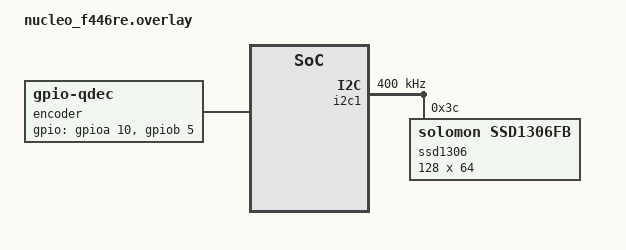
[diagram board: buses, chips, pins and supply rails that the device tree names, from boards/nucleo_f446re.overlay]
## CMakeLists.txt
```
cmake_minimum_required(VERSION 3.20.0)

find_package(Zephyr REQUIRED HINTS $ENV{ZEPHYR_BASE})
project(work)

set(CMAKE_EXPORT_COMPILE_COMMANDS ON)

target_sources(app PRIVATE
  src/main.c
  src/displaying.c
  src/encoder.c
  src/menu.c
)
```

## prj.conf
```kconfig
CONFIG_GPIO=y
CONFIG_ADC=y
CONFIG_DAC=y
CONFIG_SENSOR=y
CONFIG_INPUT=y
CONFIG_I2C=y
CONFIG_DISPLAY=y
CONFIG_CHARACTER_FRAMEBUFFER=y

CONFIG_FPU=y

CONFIG_MAIN_STACK_SIZE=1536
CONFIG_HEAP_MEM_POOL_SIZE=4096

CONFIG_LOG=y
CONFIG_PRINTK=y
CONFIG_INPUT=y
CONFIG_INPUT_GPIO_QDEC=y
```

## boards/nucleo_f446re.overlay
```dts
#include <zephyr/dt-bindings/input/input-event-codes.h>

/ {
    chosen {
        zephyr,display = &ssd1306;
    };

    encoder: encoder {
        compatible = "gpio-qdec";
        gpios = <&gpioa 10 GPIO_PULL_UP>, <&gpiob 5 GPIO_PULL_UP>;
        steps-per-period = <4>;
        zephyr,axis = <INPUT_REL_X>;
        sample-time-us = <2000>;
        idle-timeout-ms = <200>;
    };
};

&i2c1 {
    status = "okay";
    clock-frequency = <I2C_BITRATE_FAST>;

    ssd1306: ssd1306@3c {
        compatible = "solomon,ssd1306fb";
        reg = <0x3c>;
        width = <128>;
        height = <64>;
        segment-offset = <0>;
        page-offset = <0>;
        display-offset = <0>;
        multiplex-ratio = <63>;
        segment-remap;
        com-invdir;
        prechargep = <0x22>;
    };
};
```

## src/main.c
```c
#include <zephyr/kernel.h>

#include "displaying.h"
#include "encoder.h"
#include "menu.h"

int main(void) {
  if (display_init()) {
    return 0;
  }

  menu_init();

  while (1) {
    menu_update(encoder_get());
    k_msleep(20);
  }
}
```

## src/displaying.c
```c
#include <zephyr/device.h>
#include <zephyr/devicetree.h>
#include <zephyr/display/cfb.h>
#include <zephyr/drivers/display.h>
#include <zephyr/kernel.h>
#include <zephyr/sys/printk.h>

#include "displaying.h"

static const struct device *display_dev =
    DEVICE_DT_GET(DT_CHOSEN(zephyr_display));

static uint8_t font_w, font_h;
static int rows;

int display_init(void) {
  if (!device_is_ready(display_dev)) {
    printk("Display not ready\n");
    return -1;
  }

  display_blanking_off(display_dev);

  if (cfb_framebuffer_init(display_dev)) {
    printk("Framebuffer init failed\n");
    return -1;
  }

  cfb_framebuffer_set_font(display_dev, 0);
  cfb_get_font_size(display_dev, 0, &font_w, &font_h);
  rows = cfb_get_display_parameter(display_dev, CFB_DISPLAY_HEIGH) / font_h;

  return 0;
}

int display_rows(void) { return rows; }

void display_clear(void) { cfb_framebuffer_clear(display_dev, false); }

void display_line(int row, const char *text) {
  cfb_print(display_dev, text, 0, row * font_h);
}

void display_flush(void) { cfb_framebuffer_finalize(display_dev); }
```

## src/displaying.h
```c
#ifndef DISPLAYING_H
#define DISPLAYING_H

int display_init(void);
int display_rows(void);
void display_clear(void);
void display_line(int row, const char *text);
void display_flush(void);

#endif
```

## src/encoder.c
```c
#include <stdbool.h>
#include <zephyr/device.h>
#include <zephyr/devicetree.h>
#include <zephyr/input/input.h>
#include <zephyr/kernel.h>

#include "encoder.h"

static volatile int value;
K_SEM_DEFINE(press_sem, 0, 1);   /* starts at 0, holds at most 1 press */

static void rotation_cb(struct input_event *evt, void *user_data) {
  value += evt->value;
}

static void button_cb(struct input_event *evt, void *user_data) {
  if (evt->value) {   /* 1 = pressed, 0 = released */
    k_sem_give(&press_sem);
  }
}

INPUT_CALLBACK_DEFINE(DEVICE_DT_GET(DT_NODELABEL(encoder)), rotation_cb, NULL);
INPUT_CALLBACK_DEFINE(DEVICE_DT_GET(DT_NODELABEL(buttons)), button_cb, NULL);

int encoder_get(void) { return value; }

bool encoder_button_pressed(void) {
  return k_sem_take(&press_sem, K_NO_WAIT) == 0;
}
```

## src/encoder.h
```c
#ifndef ENCODER_H
#define ENCODER_H

int encoder_get(void);

#endif
```

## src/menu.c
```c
#include <stdio.h>

#include "displaying.h"
#include "menu.h"

#define MENU_ITEMS 5

static const char *items[MENU_ITEMS] = {
    "Sample1", "Sample2", "Sample3", "Sample4", "Sample5",
};

static int selected = -1;
static int top;

static int to_index(int count) {
  int i = count % MENU_ITEMS;
  return i < 0 ? i + MENU_ITEMS : i;
}

static void draw(void) {
  char buf[20];
  int visible = display_rows();

  if (visible > MENU_ITEMS) {
    visible = MENU_ITEMS;
  }

  /* scroll the window so the selected item is always visible */
  if (selected < top) {
    top = selected;
  } else if (selected >= top + visible) {
    top = selected - visible + 1;
  }

  display_clear();

  for (int row = 0; row < visible; row++) {
    int idx = top + row;
    snprintf(buf, sizeof(buf), "%c %s", idx == selected ? '>' : ' ',
             items[idx]);
    display_line(row, buf);
  }

  display_flush();
}

void menu_init(void) {
  selected = 0;
  top = 0;
  draw();
}

void menu_update(int count) {
  int idx = to_index(count);

  if (idx != selected) {
    selected = idx;
    draw();
  }
}
```

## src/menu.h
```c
#ifndef MENU_H
#define MENU_H

void menu_init(void);
void menu_update(int count);

#endif
```

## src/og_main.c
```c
/*
 * Zephyr real-time audio effects processor
 * Target: Nucleo-F446RE (STM32F446RE)
 *
 * Signal path (Path A: internal ADC/DAC, mono, no external codec):
 *   Audio in (PA0 / ADC1_IN0) -> delay/echo DSP -> Audio out (PA4 / DAC_OUT1)
 *
 * Threads:
 *   audio_thread   - cooperative priority, sample-rate loop, runs the DSP
 *   control_thread - preemptible, reads pots + encoder, updates fx params
 *   display_thread - lowest priority, refreshes the OLED status screen
 *
 * NOTE - this is a teaching-grade prototype, not a production audio
 * pipeline. The sample clock here is a k_timer, which is fine for an
 * 8 kHz mono delay effect but will jitter under system load. A
 * production version would trigger the ADC from a hardware timer and
 * move samples in/out with DMA instead of blocking adc_read_dt() calls
 * inside the loop - that upgrade path is good material to talk through
 * in an interview.
 */

#include <zephyr/kernel.h>
#include <zephyr/device.h>
#include <zephyr/devicetree.h>
#include <zephyr/drivers/adc.h>
#include <zephyr/drivers/dac.h>
#include <zephyr/drivers/sensor.h>
#include <zephyr/input/input.h>
#include <zephyr/display/cfb.h>
#include <zephyr/sys/printk.h>
#include <zephyr/sys/atomic.h>
#include <stdio.h>
#include <string.h>

/* ---------- configuration ---------- */
#define SAMPLE_RATE_HZ    8000
#define SAMPLE_PERIOD_US  (1000000 / SAMPLE_RATE_HZ)

#define DELAY_MAX_MS      1000
#define DELAY_BUF_LEN     (SAMPLE_RATE_HZ * DELAY_MAX_MS / 1000)

#define DAC_RESOLUTION    12
#define DAC_MAX_VALUE     ((1 << DAC_RESOLUTION) - 1)

#define BYPASS_KEY_CODE   1
#define PRESET_KEY_CODE   2
#define ENCODER_SW_CODE   3

/* ---------- devicetree handles ---------- */
static const struct adc_dt_spec adc_channels[] = {
	ADC_DT_SPEC_GET_BY_IDX(DT_PATH(zephyr_user), 0), /* audio in */
	ADC_DT_SPEC_GET_BY_IDX(DT_PATH(zephyr_user), 1), /* pot 1 (delay time) */
	ADC_DT_SPEC_GET_BY_IDX(DT_PATH(zephyr_user), 2), /* pot 2 (feedback) */
};

static const struct device *dac_dev = DEVICE_DT_GET(DT_NODELABEL(dac1));

static const struct dac_channel_cfg dac_cfg = {
	.channel_id = 1,
	.resolution = DAC_RESOLUTION,
	.buffered   = true,
};

static const struct device *qdec_dev = DEVICE_DT_GET(DT_NODELABEL(qdec));

/* ---------- shared effect state (audio thread writes/reads at 8 kHz,
 * control thread updates every 50 ms - atomics avoid a lock on the
 * audio thread's hot path) ---------- */
static struct {
	atomic_t delay_samples; /* 1 .. DELAY_BUF_LEN            */
	atomic_t feedback_pct;  /* 0 .. 90                        */
	atomic_t mix_pct;       /* 0 .. 100 (0 = dry, 100 = wet)   */
	atomic_t bypass;        /* 0 or 1                          */
} fx = {
	.delay_samples = ATOMIC_INIT(SAMPLE_RATE_HZ / 4), /* 250 ms default */
	.feedback_pct  = ATOMIC_INIT(35),
	.mix_pct       = ATOMIC_INIT(50),
	.bypass        = ATOMIC_INIT(0),
};

/* qdec reports an absolute, ever-accumulating position, so "reset to
 * 50%" is implemented as a subtractable offset rather than overwriting
 * fx.mix_pct directly - otherwise the next control-loop read of the
 * raw encoder position would immediately stomp the reset. */
static atomic_t encoder_offset = ATOMIC_INIT(0);
static atomic_t reset_mix_flag = ATOMIC_INIT(0);

/* ---------- audio thread ---------- */
static int16_t delay_buf[DELAY_BUF_LEN];
static size_t write_idx;

K_THREAD_STACK_DEFINE(audio_stack, 1024);
static struct k_thread audio_tid;

static int16_t adc_read_raw(const struct adc_dt_spec *spec)
{
	int16_t raw = 0;
	struct adc_sequence seq = {
		.buffer      = &raw,
		.buffer_size = sizeof(raw),
	};

	(void)adc_sequence_init_dt(spec, &seq);
	(void)adc_read_dt(spec, &seq);
	return raw;
}

static void audio_thread_fn(void *a, void *b, void *c)
{
	ARG_UNUSED(a);
	ARG_UNUSED(b);
	ARG_UNUSED(c);

	struct k_timer sample_timer;

	k_timer_init(&sample_timer, NULL, NULL);
	k_timer_start(&sample_timer, K_USEC(SAMPLE_PERIOD_US), K_USEC(SAMPLE_PERIOD_US));

	while (1) {
		k_timer_status_sync(&sample_timer);

		int16_t dry = adc_read_raw(&adc_channels[0]);

		if (atomic_get(&fx.bypass)) {
			dac_write_value(dac_dev, dac_cfg.channel_id, dry);
			continue;
		}

		int delay_n  = atomic_get(&fx.delay_samples);
		int feedback = atomic_get(&fx.feedback_pct);
		int mix      = atomic_get(&fx.mix_pct);

		size_t read_idx = (write_idx + DELAY_BUF_LEN - delay_n) % DELAY_BUF_LEN;
		int16_t delayed = delay_buf[read_idx];

		/* write dry signal + feedback of the delayed tap into the ring buffer */
		int32_t fed_back = dry + (delayed * feedback) / 100;

		if (fed_back > 2047) {
			fed_back = 2047;
		}
		if (fed_back < -2048) {
			fed_back = -2048;
		}
		delay_buf[write_idx] = (int16_t)fed_back;
		write_idx = (write_idx + 1) % DELAY_BUF_LEN;

		/* wet/dry mix, DAC expects unsigned 12-bit centered at 2048 */
		int32_t wet = (dry * (100 - mix) + delayed * mix) / 100;
		int32_t out = wet + 2048;

		if (out < 0) {
			out = 0;
		}
		if (out > DAC_MAX_VALUE) {
			out = DAC_MAX_VALUE;
		}

		dac_write_value(dac_dev, dac_cfg.channel_id, (uint32_t)out);
	}
}

/* ---------- control thread: pots, encoder, switches ---------- */
K_THREAD_STACK_DEFINE(control_stack, 1024);
static struct k_thread control_tid;

static void input_cb(struct input_event *evt, void *user_data)
{
	ARG_UNUSED(user_data);

	if (evt->type != INPUT_EV_KEY || !evt->value) {
		return; /* only react to key-down, ignore key-up */
	}

	if (evt->code == BYPASS_KEY_CODE) {
		atomic_set(&fx.bypass, !atomic_get(&fx.bypass));
	} else if (evt->code == PRESET_KEY_CODE) {
		/* snap back to the default delay sound */
		atomic_set(&fx.delay_samples, SAMPLE_RATE_HZ / 4);
		atomic_set(&fx.feedback_pct, 35);
		atomic_set(&fx.mix_pct, 50);
	} else if (evt->code == ENCODER_SW_CODE) {
		/* defer the actual offset math to the control thread, which
		* has the current raw encoder reading close at hand */
		atomic_set(&reset_mix_flag, 1);
	}
}
INPUT_CALLBACK_DEFINE(NULL, input_cb, NULL);

static void control_thread_fn(void *a, void *b, void *c)
{
	ARG_UNUSED(a);
	ARG_UNUSED(b);
	ARG_UNUSED(c);

	while (1) {
		/* pot 1 -> delay time, 10..1000 ms */
		int16_t pot1 = adc_read_raw(&adc_channels[1]);
		int delay_ms = 10 + (pot1 * (DELAY_MAX_MS - 10)) / 4095;

		atomic_set(&fx.delay_samples, delay_ms * SAMPLE_RATE_HZ / 1000);

		/* pot 2 -> feedback, 0..90 % */
		int16_t pot2 = adc_read_raw(&adc_channels[2]);

		atomic_set(&fx.feedback_pct, (pot2 * 90) / 4095);

		/* encoder -> wet/dry mix, 0..100 % */
		struct sensor_value rot;

		if (device_is_ready(qdec_dev) &&
		   sensor_sample_fetch(qdec_dev) == 0 &&
		   sensor_channel_get(qdec_dev, SENSOR_CHAN_ROTATION, &rot) == 0) {
			int raw = rot.val1;

			if (atomic_get(&reset_mix_flag)) {
				atomic_set(&encoder_offset, raw - 50);
				atomic_set(&reset_mix_flag, 0);
			}

			int mix = (raw - atomic_get(&encoder_offset)) % 101;

			if (mix < 0) {
				mix += 101;
			}
			atomic_set(&fx.mix_pct, mix);
		}

		k_msleep(50);
	}
}

/* ---------- display thread ---------- */
K_THREAD_STACK_DEFINE(display_stack, 2048);
static struct k_thread display_tid;

static void display_thread_fn(void *a, void *b, void *c)
{
	ARG_UNUSED(a);
	ARG_UNUSED(b);
	ARG_UNUSED(c);

	const struct device *display_dev = DEVICE_DT_GET(DT_CHOSEN(zephyr_display));
	bool have_display = device_is_ready(display_dev);

	if (!have_display) {
		printk("Display not ready - status will print over console instead\n");
	} else {
		cfb_framebuffer_init(display_dev);
		cfb_framebuffer_clear(display_dev, true);
	}

	char line[32];

	while (1) {
		int delay_ms = atomic_get(&fx.delay_samples) * 1000 / SAMPLE_RATE_HZ;
		int feedback = atomic_get(&fx.feedback_pct);
		int mix      = atomic_get(&fx.mix_pct);
		int bypass   = atomic_get(&fx.bypass);

		if (have_display) {
			cfb_framebuffer_clear(display_dev, false);

			snprintf(line, sizeof(line), "%s", bypass ? "BYPASS" : "DELAY FX");
			cfb_print(display_dev, line, 0, 0);

			snprintf(line, sizeof(line), "time %4d ms", delay_ms);
			cfb_print(display_dev, line, 0, 16);

			snprintf(line, sizeof(line), "fbck %3d %%", feedback);
			cfb_print(display_dev, line, 0, 32);

			snprintf(line, sizeof(line), "mix  %3d %%", mix);
			cfb_print(display_dev, line, 0, 48);

			cfb_framebuffer_finalize(display_dev);
		} else {
			printk("[%s] time=%dms fbck=%d%% mix=%d%%\n",
			      bypass ? "BYPASS" : "DELAY", delay_ms, feedback, mix);
		}

		k_msleep(200);
	}
}

/* ---------- startup ---------- */
int main(void)
{
	for (size_t i = 0; i < ARRAY_SIZE(adc_channels); i++) {
		if (!adc_is_ready_dt(&adc_channels[i])) {
			printk("ADC channel %d not ready\n", (int)i);
			return -1;
		}
		adc_channel_setup_dt(&adc_channels[i]);
	}

	if (!device_is_ready(dac_dev)) {
		printk("DAC not ready\n");
		return -1;
	}
	dac_channel_setup(dac_dev, &dac_cfg);

	if (!device_is_ready(qdec_dev)) {
		printk("Encoder (qdec) not ready - mix will stay at its default\n");
	}

	memset(delay_buf, 0, sizeof(delay_buf));

	/* cooperative priority: nothing preempts the audio thread mid-sample */
	k_thread_create(&audio_tid, audio_stack, K_THREAD_STACK_SIZEOF(audio_stack),
			audio_thread_fn, NULL, NULL, NULL,
			K_PRIO_COOP(2), 0, K_NO_WAIT);

	k_thread_create(&control_tid, control_stack, K_THREAD_STACK_SIZEOF(control_stack),
			control_thread_fn, NULL, NULL, NULL,
			K_PRIO_PREEMPT(5), 0, K_NO_WAIT);

	k_thread_create(&display_tid, display_stack, K_THREAD_STACK_SIZEOF(display_stack),
			display_thread_fn, NULL, NULL, NULL,
			K_PRIO_PREEMPT(7), 0, K_NO_WAIT);

	return 0;
}
```
